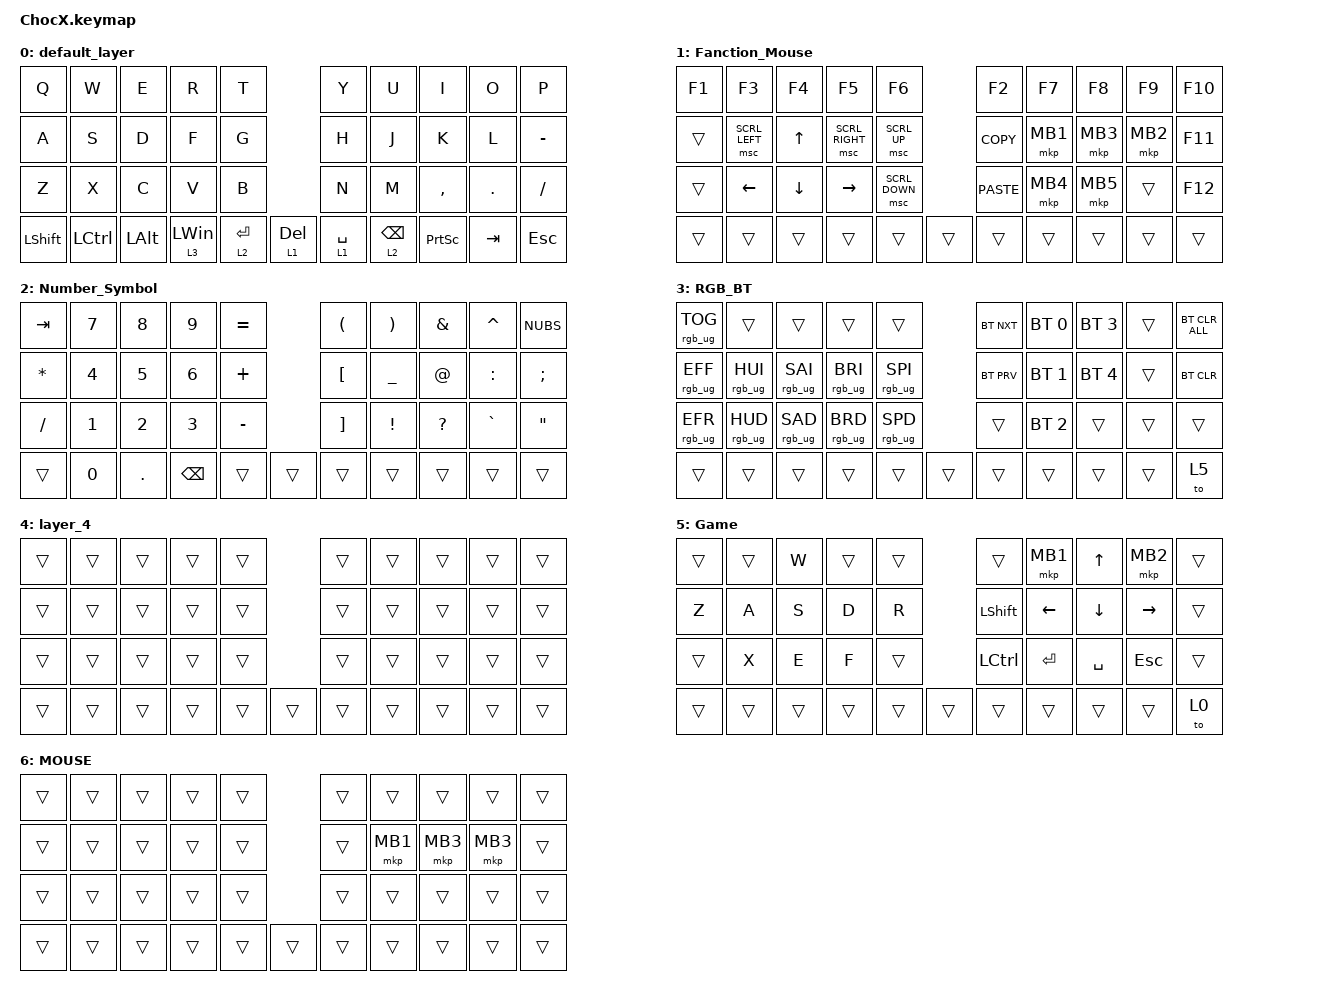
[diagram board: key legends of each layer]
#include <behaviors/rgbled_widget.dtsi>
#include <behaviors.dtsi>
#include <dt-bindings/zmk/bt.h>
#include <dt-bindings/zmk/keys.h>
#include <dt-bindings/zmk/pointing.h>
#include <dt-bindings/zmk/rgb.h>

//#define ZMK_POINTING_DEFAULT_SCRL_VAL 100
//#define MOUSE 6

/ {
    combos { compatible = "zmk,combos"; };

    macros {
        to_layer_0: to_layer_0 {
            compatible = "zmk,behavior-macro-one-param";
            #binding-cells = <1>;
            bindings = <&to 0 &macro_param_1to1 &kp MACRO_PLACEHOLDER>;
            label = "TO_LAYER_0";
        };

        J_RANG: J_RANG {
            compatible = "zmk,behavior-macro";
            #binding-cells = <0>;
            bindings = <&kp GRAVE>, <&macro_tap>;

            label = "J_RANG";
        };

        J_PLUS: J_PLUS {
            compatible = "zmk,behavior-macro";
            #binding-cells = <0>;
            bindings = <&kp COLON>, <&macro_tap>;

            label = "J_PLUS";
        };

        J_ASTRK: J_ASTARISK {
            compatible = "zmk,behavior-macro";
            #binding-cells = <0>;
            bindings = <&kp DOUBLE_QUOTES>, <&macro_tap>;

            label = "J_ASTARISK";
        };

        J_LPAR: J_LPAR {
            compatible = "zmk,behavior-macro";
            #binding-cells = <0>;
            bindings = <&kp ASTRK>, <&macro_tap>;

            label = "J_LPAR";
        };

        J_RPAR: J_RPAR {
            compatible = "zmk,behavior-macro";
            #binding-cells = <0>;
            bindings = <&kp LPAR>, <&macro_press>;

            label = "J_RPAR";
        };

        J_LBKT: J_LBKT {
            compatible = "zmk,behavior-macro";
            #binding-cells = <0>;
            bindings = <&kp RBKT>, <&macro_press>;

            label = "J_LBKT";
        };

        J_RBKT: J_RBLKT {
            compatible = "zmk,behavior-macro";
            #binding-cells = <0>;
            bindings = <&kp BSLH>, <&macro_press>;

            label = "J_RBLKT";
        };

        J_AT: J_AT {
            compatible = "zmk,behavior-macro";
            #binding-cells = <0>;
            bindings = <&kp LBKT>, <&macro_press>;

            label = "J_AT";
        };

        J_AMPS: J_AMPS {
            compatible = "zmk,behavior-macro";
            #binding-cells = <0>;
            bindings = <&kp CARET>, <&macro_press>;

            label = "J_AMPS";
        };

        J_EQUAL: J_EQUAL {
            compatible = "zmk,behavior-macro";
            #binding-cells = <0>;
            bindings = <&kp UNDER>, <&macro_press>;

            label = "J_EQUAL";
        };

        J_APOS: J_APOS {
            compatible = "zmk,behavior-macro";
            #binding-cells = <0>;
            bindings = <&kp AMPS>, <&macro_press>;

            label = "J_APOS";
        };

        J_DQT: J_DQT {
            compatible = "zmk,behavior-macro";
            #binding-cells = <0>;
            bindings = <&kp AT>, <&macro_press>;

            label = "J_DQT";
        };

        J_CARET: J_CARET {
            compatible = "zmk,behavior-macro";
            #binding-cells = <0>;
            bindings = <&kp EQUAL>, <&macro_press>;

            label = "J_CARET";
        };

        J_TILDE: J_TILDE {
            compatible = "zmk,behavior-macro";
            #binding-cells = <0>;
            bindings = <&kp PLUS>, <&macro_press>;

            label = "J_TILDE";
        };

        J_COLON: J_COLON {
            compatible = "zmk,behavior-macro";
            #binding-cells = <0>;
            bindings = <&kp SQT>, <&macro_press>;

            label = "J_COLON";
        };

        J_GRAVE: J_GRAVE {
            compatible = "zmk,behavior-macro";
            #binding-cells = <0>;
            bindings = <&kp LBRC>, <&macro_press>;

            label = "J_GRAVE";
        };
    };

    behaviors {
        lt_to_layer_0: lt_to_layer_0 {
            compatible = "zmk,behavior-hold-tap";
            label = "LAYER_TAP_TO_0";
            bindings = <&mo>, <&to_layer_0>;

            #binding-cells = <2>;
            tapping-term-ms = <200>;
        };
    };

    keymap {
        compatible = "zmk,keymap";

        default_layer {
            // -----------------------------------------------------------------------------------------
            // |  Q  |  W  |  E  |  R  |  T  |                |  Y  |  U   |  I  |  O  |  P  |
            // |  A  |  S  |  D  |  F  |  G  |                |  H  |  J   |  K  |  L  |  -  |
            // |  Z  |  X  |  C  |  V  |  B  |                |  N  |  M   |  ,  |  .  |  /  |
            // | SHFT| CTRL| ALT | LNG | DEL | ENT |          | SPC | BSPC | WIN | TAB | ESC |

            bindings = <
&kp Q           &kp W      &kp E         &kp R           &kp T                       &kp Y        &kp U       &kp I      &kp O       &kp P
&kp A           &kp S      &kp D         &kp F           &kp G                       &kp H        &kp J       &kp K      &kp L       &kp MINUS
&kp Z           &kp X      &kp C         &kp V           &kp B                       &kp N        &kp M       &kp COMMA  &kp PERIOD  &kp SLASH
&kp LEFT_SHIFT  &kp LCTRL  &kp LEFT_ALT  &lt 3 LEFT_WIN  &lt 2 ENTER  &lt 1 DEL      &lt 1 SPACE  &lt 2 BSPC  &kp PSCRN  &kp TAB     &kp ESC
            >;
        };

        Fanction_Mouse {
            // -----------------------------------------------------------------------------------------
            // |  F1  |  F3  |  F4  |  F5  |  F6  |                 |  F2  |  F7  |  F8  |  F9  |  F10  | 
            // |      |PG_LFT|  UP  |PG_RGT| PG_UP|                 | COPY | BTN1 | BTN3 | BTN2 |  F11  |
            // |      | LEFT | DOWN | RGHT | PG_DN|                 | PSTE | BTN4 | BTN5 |      |  F12  |
            // |      |      |      |      |      |      |          |      |      |      |      |       |

            bindings = <
&kp F1  &kp F3          &kp F4    &kp F5           &kp F6                      &kp F2       &kp F7    &kp F8    &kp F9    &kp F10
&trans  &msc SCRL_LEFT  &kp UP    &msc SCRL_RIGHT  &msc SCRL_UP                &kp K_COPY   &mkp MB1  &mkp MB3  &mkp MB2  &kp F11
&trans  &kp LEFT        &kp DOWN  &kp RIGHT        &msc SCRL_DOWN              &kp K_PASTE  &mkp MB4  &mkp MB5  &trans    &kp F12
&trans  &trans          &trans    &trans           &trans          &trans      &trans       &trans    &trans    &trans    &trans
            >;
        };

        Number_Symbol {
            // -----------------------------------------------------------------------------------------
            // | TAB |  7  |  8  |  9  |  =  |               |  (  |  )  |  &  |  ^  |  \  |
            // |  *  |  4  |  5  |  6  |  +  |               |  [  |  _  |  @  |  :  |  ;  |
            // |  /  |  1  |  2  |  3  |  -  |               |  ]  |  !  |  ?  |  `  |  "  |
            // | ESC |  0  |  .  | BS  |     |    |          |  _  |  +  |  {  |  }  |     |

            bindings = <
&kp TAB    &kp N7  &kp N8   &kp N9    &kp EQUAL              &kp LPAR  &kp RPAR   &kp AMPERSAND  &kp CARET  &kp NUBS
&kp ASTRK  &kp N4  &kp N5   &kp N6    &kp PLUS               &kp LBKT  &kp UNDER  &kp AT         &kp COLON  &kp SEMI
&kp SLASH  &kp N1  &kp N2   &kp N3    &kp MINUS              &kp RBKT  &kp EXCL   &kp QMARK      &kp GRAVE  &kp DQT
&trans     &kp N0  &kp DOT  &kp BSPC  &trans     &trans      &trans    &trans     &trans         &trans     &trans
            >;
        };

        RGB_BT {
            // -----------------------------------------------------------------------------------------
            // |    |    |    |    |    |               |    |    |    |    |     |
            // |    |    |    |    |    |               |    |    |    |    |     |
            // |    |    |    |    |    |               |    |    |    |    |     |
            // |    |    |    |    |    |               |    |    |    |    |     |
            // |    |    |    |    |    |    |          |    |    |    |    | To5 |

            bindings = <
&rgb_ug RGB_TOG  &trans           &trans           &trans           &trans                       &bt BT_NXT  &bt BT_SEL 0  &bt BT_SEL 3  &trans  &bt BT_CLR_ALL
&rgb_ug RGB_EFF  &rgb_ug RGB_HUI  &rgb_ug RGB_SAI  &rgb_ug RGB_BRI  &rgb_ug RGB_SPI              &bt BT_PRV  &bt BT_SEL 1  &bt BT_SEL 4  &trans  &bt BT_CLR
&rgb_ug RGB_EFR  &rgb_ug RGB_HUD  &rgb_ug RGB_SAD  &rgb_ug RGB_BRD  &rgb_ug RGB_SPD              &trans      &bt BT_SEL 2  &trans        &trans  &trans
&trans           &trans           &trans           &trans           &trans           &trans      &trans      &trans        &trans        &trans  &to 5
            >;
        };

        layer_4 {
            // -----------------------------------------------------------------------------------------
            // |    |    |    |    |    |               |    |    |    |    |    |
            // |    |    |    |    |    |               |    |    |    |    |    |
            // |    |    |    |    |    |               |    |    |    |    |    |
            // |    |    |    |    |    |               |    |    |    |    |    |
            // |    |    |    |    |    |    |          |    |    |    |    |    |

            bindings = <
&trans  &trans  &trans  &trans  &trans              &trans  &trans  &trans  &trans  &trans
&trans  &trans  &trans  &trans  &trans              &trans  &trans  &trans  &trans  &trans
&trans  &trans  &trans  &trans  &trans              &trans  &trans  &trans  &trans  &trans
&trans  &trans  &trans  &trans  &trans  &trans      &trans  &trans  &trans  &trans  &trans
            >;
        };

        Game {
            // -----------------------------------------------------------------------------------------
            // |    |     |  W  |     |    |               |    |    |    |    |     |
            // |    |  A  |  S  |  D  |    |               |    |    |    |    |     |
            // |    |     |     |     |    |               |    |    |    |    |     |
            // |    |     |     |     |    |               |    |    |    |    |     |
            // |    |     |     |     |    |    |          |    |    |    |    | To0 |

            bindings = <
&trans  &trans  &kp W   &trans  &trans              &trans            &mkp MB1        &kp UP_ARROW    &mkp MB2         &trans
&kp Z   &kp A   &kp S   &kp D   &kp R               &kp LEFT_SHIFT    &kp LEFT_ARROW  &kp DOWN_ARROW  &kp RIGHT_ARROW  &trans
&trans  &kp X   &kp E   &kp F   &trans              &kp LEFT_CONTROL  &kp ENTER       &kp SPACE       &kp ESC          &trans
&trans  &trans  &trans  &trans  &trans  &trans      &trans            &trans          &trans          &trans           &to 0
            >;
        };

        MOUSE {
            // -----------------------------------------------------------------------------------------
            // |    |    |    |    |    |               |    |      |      |      |    |
            // |    |    |    |    |    |               |    | BTN1 | BTN3 | BTN2 |    |
            // |    |    |    |    |    |               |    |      |      |      |    |
            // |    |    |    |    |    |    |          |    |      |      |      |    |

            bindings = <
&trans  &trans  &trans  &trans  &trans              &trans  &trans    &trans    &trans    &trans
&trans  &trans  &trans  &trans  &trans              &trans  &mkp MB1  &mkp MB3  &mkp MB3  &trans
&trans  &trans  &trans  &trans  &trans              &trans  &trans    &trans    &trans    &trans
&trans  &trans  &trans  &trans  &trans  &trans      &trans  &trans    &trans    &trans    &trans
            >;
        };
    };
};
